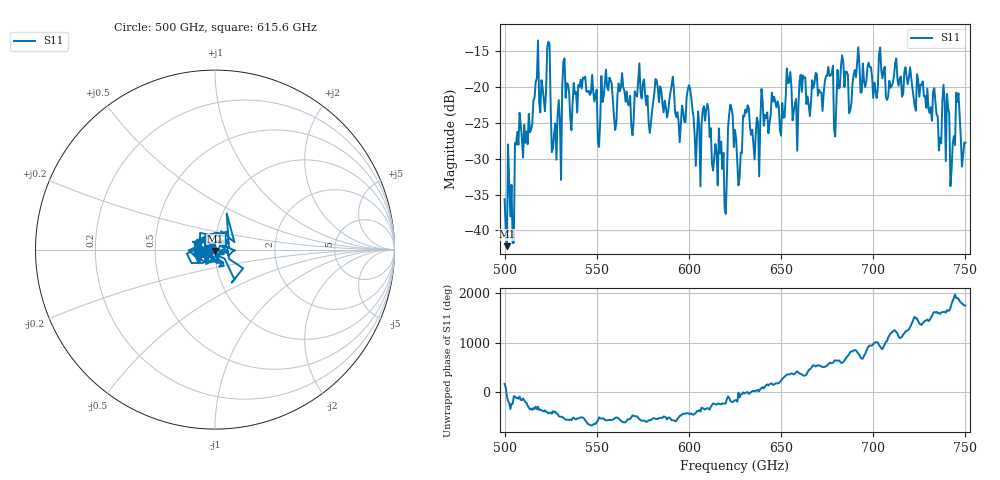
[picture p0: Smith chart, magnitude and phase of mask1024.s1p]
!Created with skrf (http://scikit-rf.org).
# GHz S MA R 50.0
!freq magS11 angS11
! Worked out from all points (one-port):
!   401 points, 500 GHz to 750 GHz, reference 50 ohm
!   lowest |S11| = -42.2 dB at 501.2 GHz (marker M1), VSWR 1.02, Z = 50.1 - j0.769 ohm
!   |S11| at or under -10 dB: start of sweep to end of sweep
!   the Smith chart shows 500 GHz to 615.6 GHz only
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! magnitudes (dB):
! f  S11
! 500 GHz  -35.6
! 501.2 GHz  -42.2
! 503.8 GHz  -33.6
! 506.9 GHz  -26.2
! 513.8 GHz  -26.3
! 516.9 GHz  -19.3
! 523.8 GHz  -13.7
! 526.9 GHz  -26.5
! 531.2 GHz  -20.1
! 562.5 GHz  -20.6
! 593.8 GHz  -23.5
! 600 GHz  -19.7
! 605 GHz  -23.4
! 609.4 GHz  -23.2
! 619.4 GHz  -36.9
! 622.5 GHz  -22.5
! 625 GHz  -26.0
! 627.5 GHz  -32.6
! 631.2 GHz  -23.6
! 636.9 GHz  -24.3
! 656.2 GHz  -24.7
! 676.9 GHz  -18.4
! 680 GHz  -22.4
! 683.8 GHz  -16.6
! 687.5 GHz  -23.3
! 691.2 GHz  -16.7
! 718.8 GHz  -19.6
! 750 GHz  -27.8
